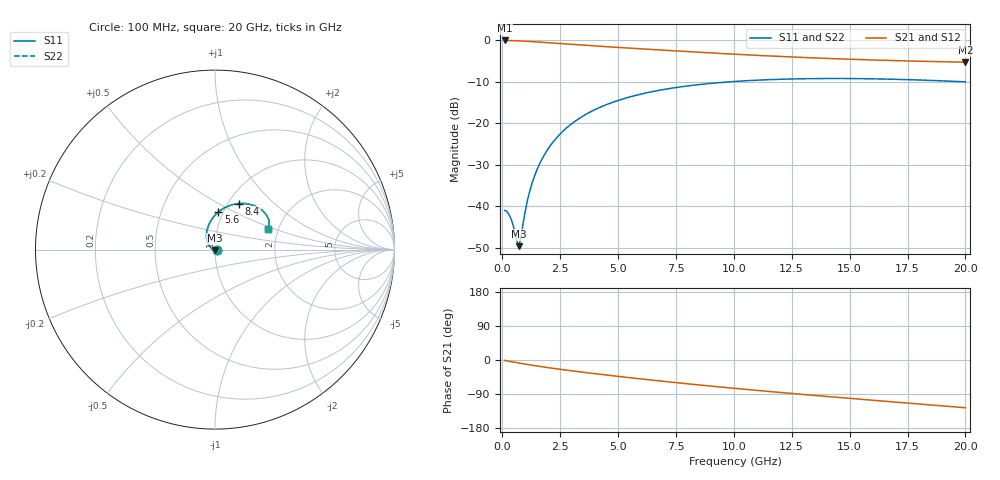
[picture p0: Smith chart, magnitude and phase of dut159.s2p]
! Created with skrf 1.9.0 (http://scikit-rf.org).
# GHz S RI R 50.0
!freq ReS11 ImS11 ReS21 ImS21 ReS12 ImS12 ReS22 ImS22
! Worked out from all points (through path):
!   200 points, 100 MHz to 20 GHz, reference 50 ohm
!   highest |S21| = -0.08 dB at 100 MHz (marker M1); lowest = -5.3 dB at 20 GHz (marker M2)
!   group delay of S21, straight-line fit = 16.6 ps
!   lowest |S11| = -49.6 dB at 700 MHz (marker M3), VSWR 1.01, Z = 50 - j0.328 ohm
!   |S11| at or under -10 dB: start of sweep to 9.922 GHz; 19.8 GHz to end of sweep
!   |S22| runs from -49.6 to -9.2 dB; largest |S21 - S12| = 1.9e-15
!   S11 on the Smith chart (normalised r, x): 100 MHz: 1.02, -0.00; 5.6 GHz: 0.95, +0.42; 8.4 GHz: 1.12, +0.63; 20 GHz: 1.76, +0.45
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0.1  0.00876 -0.00156  0.9906 -0.0188  0.9906 -0.0188  0.00876 -0.00156
0.2  0.00838 -0.00205  0.9891 -0.0385  0.9891 -0.0385  0.00838 -0.00205
0.3  0.00742 -0.00263  0.9869 -0.0579  0.9869 -0.0579  0.00742 -0.00263
0.4  0.00603 -0.00312  0.984 -0.077  0.984 -0.077  0.00603 -0.00312
0.7  -0.000318 -0.00328  0.9712 -0.1321  0.9712 -0.1321  -0.000318 -0.00328
0.8  -0.00302 -0.00273  0.9656 -0.1497  0.9656 -0.1497  -0.00302 -0.00273
1  -0.00899 -0.000519  0.953 -0.1834  0.953 -0.1834  -0.00899 -0.000519
1.2  -0.0154 0.00325  0.9387 -0.2152  0.9387 -0.2152  -0.0154 0.00325
1.4  -0.0218 0.00856  0.9231 -0.245  0.9231 -0.245  -0.0218 0.00856
1.7  -0.0307 0.0192  0.8978 -0.2861  0.8978 -0.2861  -0.0307 0.0192
2.1  -0.0401 0.0373  0.8623 -0.3349  0.8623 -0.3349  -0.0401 0.0373
2.5  -0.0457 0.0583  0.8257 -0.3778  0.8257 -0.3778  -0.0457 0.0583
3  -0.0471 0.0866  0.7795 -0.4246  0.7795 -0.4246  -0.0471 0.0866
3.5  -0.0426 0.1149  0.7332 -0.4654  0.7332 -0.4654  -0.0426 0.1149
4.4  -0.0227 0.1614  0.6501 -0.5263  0.6501 -0.5263  -0.0227 0.1614
5.6  0.019 0.2094  0.5403 -0.5864  0.5403 -0.5864  0.019 0.2094
6.8  0.0683 0.2399  0.4336 -0.6255  0.4336 -0.6255  0.0683 0.2399
8.4  0.134 0.2566  0.3 -0.651  0.3 -0.651  0.134 0.2566
10.1  0.1948 0.2522  0.1723 -0.6528  0.1723 -0.6528  0.1948 0.2522
13.4  0.2731 0.209  -0.0324 -0.6106  -0.0324 -0.6106  0.2731 0.209
16.7  0.3013 0.155  -0.1917 -0.5355  -0.1917 -0.5355  0.3013 0.155
20  0.2929 0.1144  -0.3192 -0.4386  -0.3192 -0.4386  0.2929 0.1144
